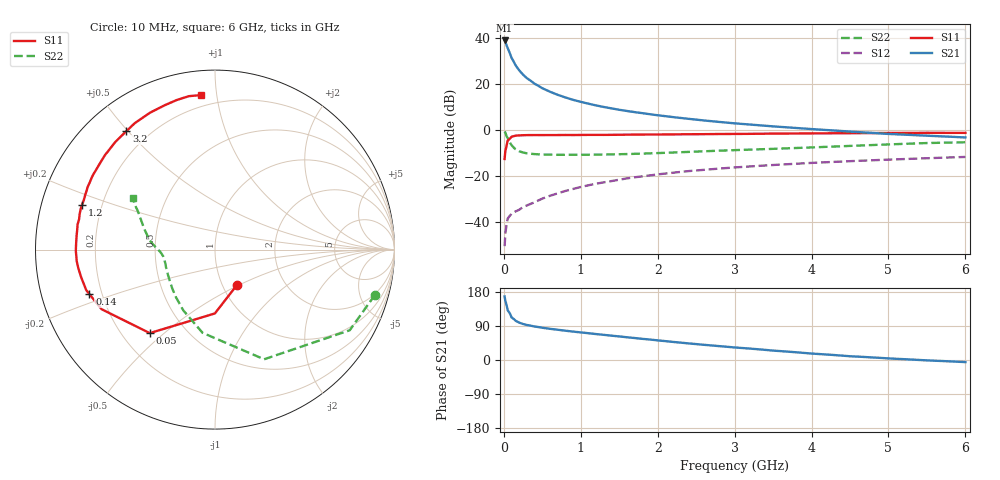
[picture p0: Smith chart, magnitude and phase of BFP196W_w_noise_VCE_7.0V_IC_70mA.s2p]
! Infineon Technologies  Discrete & RF Semiconductors
! BFP196W
! VCE =  7.0 V,  IC =  70 mA
! Common Emitter S-Parameters:  Jan 2017
# GHz  S  MA  R  50
!  f  S11  S21  S12  S22
! GHz  MAG  ANG  MAG  ANG  MAG  ANG  MAG  ANG
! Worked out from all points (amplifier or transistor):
!   77 points, 10 MHz to 6 GHz, reference 50 ohm
!   highest |S21| = 39.1 dB at 10 MHz (marker M1)
!   |S21| within 3 dB of that: start of sweep to 45.98 MHz
!   unconditionally stable (mu >= 1): 605.6 MHz to 3.256 GHz
!   at 130 MHz: K = 0.49, MSG = 32.9 dB, |S12| = -36.0 dB
!   at 2.2 GHz: K = 1.04, MAG = 11.0 dB, |S12| = -18.7 dB
!   at 6 GHz: K = 0.94, MSG = 4.3 dB, |S12| = -11.8 dB
!   lowest NFmin = 1.58 dB at 450 MHz
!   S11 on the Smith chart (normalised r, x): 10 MHz: 1.17, -0.49; 50 MHz: 0.31, -0.45; 140 MHz: 0.15, -0.17; 1.2 GHz: 0.13, +0.16; 3.2 GHz: 0.12, +0.49; 6 GHz: 0.13, +0.91
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0.01  0.2328 -58.6  90.3 167.7  0.0029 76.8  0.9262 -15.8
0.02  0.3556 -90.1  84.63 155.6  0.0055 72.0  0.8749 -30.9
0.05  0.5905 -128.0  61.52 131.0  0.0116 51.9  0.6695 -65.9
0.1  0.714 -152.3  37.6 112.3  0.0148 45.7  0.4687 -98.5
0.14  0.7427 -160.5  28.53 106.1  0.0162 44.4  0.3954 -113.1
0.15  0.7521 -162.5  26.34 103.9  0.0166 44.1  0.382 -117.5
0.2  0.7616 -168.4  20.06 98.6  0.0181 45.9  0.3435 -129.2
0.25  0.7688 -172.4  16.17 95.0  0.0208 48.9  0.3219 -137.7
0.3  0.7731 -175.2  13.53 92.4  0.0225 51.8  0.3091 -143.7
0.4  0.7755 -179.6  10.23 88.3  0.0263 56.5  0.2975 -151.8
0.5  0.7745 177.3  8.186 85.1  0.0317 59.3  0.2912 -157.1
0.7  0.7755 172.1  5.863 79.9  0.0413 63.2  0.2871 -163.6
0.9  0.7759 167.4  4.556 75.0  0.0515 64.1  0.2874 -167.3
1.1  0.7818 163.3  3.754 70.7  0.062 64.5  0.2882 -170.1
1.2  0.7816 161.3  3.439 68.4  0.0672 64.2  0.2892 -171.4
1.6  0.7909 153.7  2.603 60.0  0.0877 62.1  0.2981 -175.5
2.1  0.7994 144.5  2.004 49.8  0.1119 58.6  0.3175 179.9
3.1  0.8218 128.3  1.356 31.6  0.156 49.8  0.3678 171.5
3.2  0.8241 126.8  1.315 30.1  0.1599 48.9  0.3726 170.5
4.1  0.845 114.2  1.022 15.7  0.1944 41.2  0.4225 161.6
5.1  0.8611 103.5  0.806 3.2  0.2285 33.1  0.491 152.5
6  0.8644 95.0  0.688 -5.6  0.258 26.0  0.5393 147.9
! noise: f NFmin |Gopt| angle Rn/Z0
0.45  1.58  0.55  -175  0.06
0.9  1.7  0.58  -169  0.07
1.9  2.54  0.7  -148  0.18
2.4  2.95  0.74  -143  0.3
